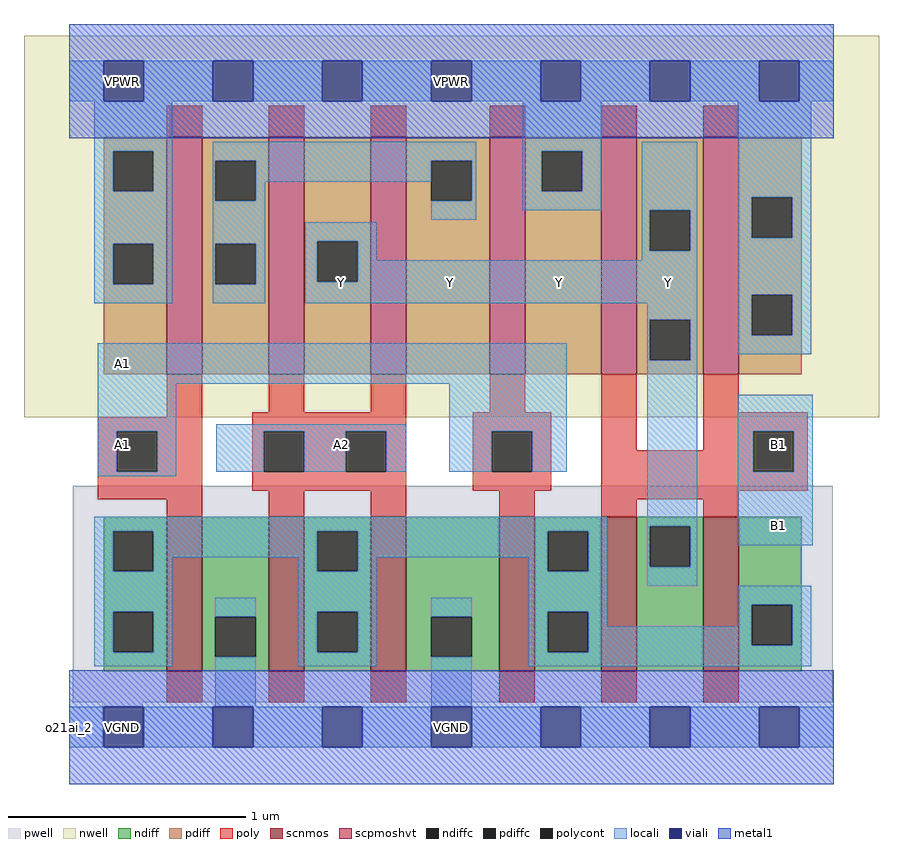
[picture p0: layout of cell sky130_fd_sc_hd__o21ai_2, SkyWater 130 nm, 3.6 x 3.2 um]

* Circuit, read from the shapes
.subckt sky130_fd_sc_hd__o21ai_2 A1 A2 B1 VGND VNB VPB VPWR Y
XM1 VGND A1 n1 VNB sky130_fd_pr__nfet_01v8 w=0.65 l=0.15 m=2
XM2 n1 A2 VGND VNB sky130_fd_pr__nfet_01v8 w=0.65 l=0.15 m=2
XM3 Y B1 n1 VNB sky130_fd_pr__nfet_01v8 w=0.65 l=0.15 m=2
XM4 n2 A1 VPWR VPB sky130_fd_pr__pfet_01v8_hvt w=1 l=0.15 m=2
XM5 Y A2 n2 VPB sky130_fd_pr__pfet_01v8_hvt w=1 l=0.15 m=2
XM6 Y B1 VPWR VPB sky130_fd_pr__pfet_01v8_hvt w=1 l=0.15 m=2
.ends

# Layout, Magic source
magic
tech sky130A
magscale 1 2
<< nwell >>
rect -38 261 682 582
<< pwell >>
rect 3 21 643 203
rect 28 -17 62 21
<< scnmos >>
rect 82 47 112 177
rect 168 47 198 177
rect 254 47 284 177
rect 362 47 392 177
rect 448 47 478 177
rect 534 47 564 177
<< scpmoshvt >>
rect 82 297 112 497
rect 168 297 198 497
rect 254 297 284 497
rect 354 297 384 497
rect 448 297 478 497
rect 534 297 564 497
<< ndiff >>
rect 29 165 82 177
rect 29 131 37 165
rect 71 131 82 165
rect 29 97 82 131
rect 29 63 37 97
rect 71 63 82 97
rect 29 47 82 63
rect 112 93 168 177
rect 112 59 123 93
rect 157 59 168 93
rect 112 47 168 59
rect 198 165 254 177
rect 198 131 209 165
rect 243 131 254 165
rect 198 97 254 131
rect 198 63 209 97
rect 243 63 254 97
rect 198 47 254 63
rect 284 93 362 177
rect 284 59 305 93
rect 339 59 362 93
rect 284 47 362 59
rect 392 165 448 177
rect 392 131 403 165
rect 437 131 448 165
rect 392 97 448 131
rect 392 63 403 97
rect 437 63 448 97
rect 392 47 448 63
rect 478 169 534 177
rect 478 135 489 169
rect 523 135 534 169
rect 478 47 534 135
rect 564 103 617 177
rect 564 69 575 103
rect 609 69 617 103
rect 564 47 617 69
<< pdiff >>
rect 29 485 82 497
rect 29 451 37 485
rect 71 451 82 485
rect 29 407 82 451
rect 29 373 37 407
rect 71 373 82 407
rect 29 297 82 373
rect 112 477 168 497
rect 112 443 123 477
rect 157 443 168 477
rect 112 407 168 443
rect 112 373 123 407
rect 157 373 168 407
rect 112 297 168 373
rect 198 409 254 497
rect 198 375 209 409
rect 243 375 254 409
rect 198 297 254 375
rect 284 477 354 497
rect 284 443 305 477
rect 339 443 354 477
rect 284 297 354 443
rect 384 485 448 497
rect 384 451 398 485
rect 432 451 448 485
rect 384 297 448 451
rect 478 435 534 497
rect 478 401 489 435
rect 523 401 534 435
rect 478 343 534 401
rect 478 309 489 343
rect 523 309 534 343
rect 478 297 534 309
rect 564 446 617 497
rect 564 412 575 446
rect 609 412 617 446
rect 564 364 617 412
rect 564 330 575 364
rect 609 330 617 364
rect 564 297 617 330
<< ndiffc >>
rect 37 131 71 165
rect 37 63 71 97
rect 123 59 157 93
rect 209 131 243 165
rect 209 63 243 97
rect 305 59 339 93
rect 403 131 437 165
rect 403 63 437 97
rect 489 135 523 169
rect 575 69 609 103
<< pdiffc >>
rect 37 451 71 485
rect 37 373 71 407
rect 123 443 157 477
rect 123 373 157 407
rect 209 375 243 409
rect 305 443 339 477
rect 398 451 432 485
rect 489 401 523 435
rect 489 309 523 343
rect 575 412 609 446
rect 575 330 609 364
<< poly >>
rect 82 497 112 523
rect 168 497 198 523
rect 254 497 284 523
rect 354 497 384 523
rect 448 497 478 523
rect 534 497 564 523
rect 82 261 112 297
rect 168 265 198 297
rect 254 265 284 297
rect 354 265 384 297
rect 24 249 112 261
rect 24 215 40 249
rect 74 215 112 249
rect 24 192 112 215
rect 154 249 284 265
rect 154 215 164 249
rect 198 215 233 249
rect 267 215 284 249
rect 154 199 284 215
rect 340 249 406 265
rect 340 215 356 249
rect 390 215 406 249
rect 340 199 406 215
rect 448 233 478 297
rect 534 265 564 297
rect 534 249 622 265
rect 534 233 576 249
rect 448 215 576 233
rect 610 215 622 249
rect 448 199 622 215
rect 82 177 112 192
rect 168 177 198 199
rect 254 177 284 199
rect 362 177 392 199
rect 448 192 564 199
rect 448 177 478 192
rect 534 177 564 192
rect 82 21 112 47
rect 168 21 198 47
rect 254 21 284 47
rect 362 21 392 47
rect 448 21 478 47
rect 534 21 564 47
<< polycont >>
rect 40 215 74 249
rect 164 215 198 249
rect 233 215 267 249
rect 356 215 390 249
rect 576 215 610 249
<< locali >>
rect 0 527 29 561
rect 63 527 121 561
rect 155 527 213 561
rect 247 527 305 561
rect 339 527 397 561
rect 431 527 489 561
rect 523 527 581 561
rect 615 527 644 561
rect 21 485 87 527
rect 21 451 37 485
rect 71 451 87 485
rect 21 407 87 451
rect 21 373 37 407
rect 71 373 87 407
rect 21 357 87 373
rect 121 477 343 493
rect 121 443 123 477
rect 157 459 305 477
rect 157 443 165 459
rect 121 407 165 443
rect 339 443 343 477
rect 305 427 343 443
rect 382 485 448 527
rect 382 451 398 485
rect 432 451 448 485
rect 382 435 448 451
rect 482 435 529 493
rect 121 373 123 407
rect 157 373 165 407
rect 121 357 165 373
rect 199 409 259 425
rect 199 375 209 409
rect 243 393 259 409
rect 482 401 489 435
rect 523 401 529 435
rect 482 393 529 401
rect 243 375 529 393
rect 199 357 529 375
rect 487 343 529 357
rect 24 289 419 323
rect 24 249 90 289
rect 24 215 40 249
rect 74 215 90 249
rect 124 249 284 255
rect 124 215 164 249
rect 198 215 233 249
rect 267 215 284 249
rect 320 249 419 289
rect 320 215 356 249
rect 390 215 419 249
rect 487 309 489 343
rect 523 309 529 343
rect 563 446 625 527
rect 563 412 575 446
rect 609 412 625 446
rect 563 364 625 412
rect 563 330 575 364
rect 609 330 625 364
rect 563 314 625 330
rect 24 211 90 215
rect 21 165 453 177
rect 21 131 37 165
rect 71 143 209 165
rect 71 131 87 143
rect 21 97 87 131
rect 193 131 209 143
rect 243 143 403 165
rect 243 131 259 143
rect 21 63 37 97
rect 71 63 87 97
rect 21 51 87 63
rect 123 93 157 109
rect 123 17 157 59
rect 193 97 259 131
rect 387 131 403 143
rect 437 131 453 165
rect 193 63 209 97
rect 243 63 259 97
rect 193 51 259 63
rect 305 93 339 109
rect 305 17 339 59
rect 387 97 453 131
rect 487 169 529 309
rect 487 135 489 169
rect 523 135 529 169
rect 563 249 626 280
rect 563 215 576 249
rect 610 215 626 249
rect 563 153 626 215
rect 487 119 529 135
rect 387 63 403 97
rect 437 85 453 97
rect 563 103 625 119
rect 563 85 575 103
rect 437 69 575 85
rect 609 69 625 103
rect 437 63 625 69
rect 387 51 625 63
rect 0 -17 29 17
rect 63 -17 121 17
rect 155 -17 213 17
rect 247 -17 305 17
rect 339 -17 397 17
rect 431 -17 489 17
rect 523 -17 581 17
rect 615 -17 644 17
<< viali >>
rect 29 527 63 561
rect 121 527 155 561
rect 213 527 247 561
rect 305 527 339 561
rect 397 527 431 561
rect 489 527 523 561
rect 581 527 615 561
rect 29 -17 63 17
rect 121 -17 155 17
rect 213 -17 247 17
rect 305 -17 339 17
rect 397 -17 431 17
rect 489 -17 523 17
rect 581 -17 615 17
<< metal1 >>
rect 0 561 644 592
rect 0 527 29 561
rect 63 527 121 561
rect 155 527 213 561
rect 247 527 305 561
rect 339 527 397 561
rect 431 527 489 561
rect 523 527 581 561
rect 615 527 644 561
rect 0 496 644 527
rect 0 17 644 48
rect 0 -17 29 17
rect 63 -17 121 17
rect 155 -17 213 17
rect 247 -17 305 17
rect 339 -17 397 17
rect 431 -17 489 17
rect 523 -17 581 17
rect 615 -17 644 17
rect 0 -48 644 -17
<< labels >>
flabel locali s 580 153 614 187 0 FreeSans 200 0 0 0 B1
port 3 nsew signal input
flabel locali s 488 357 522 391 0 FreeSans 200 0 0 0 Y
port 8 nsew signal output
flabel locali s 396 357 430 391 0 FreeSans 200 0 0 0 Y
port 8 nsew signal output
flabel locali s 304 357 338 391 0 FreeSans 200 0 0 0 Y
port 8 nsew signal output
flabel locali s 212 221 246 255 0 FreeSans 200 0 0 0 A2
port 2 nsew signal input
flabel locali s 212 357 246 391 0 FreeSans 200 0 0 0 Y
port 8 nsew signal output
flabel locali s 28 289 62 323 0 FreeSans 200 0 0 0 A1
port 1 nsew signal input
flabel locali s 28 221 62 255 0 FreeSans 200 0 0 0 A1
port 1 nsew signal input
flabel locali s 580 221 614 255 0 FreeSans 200 0 0 0 B1
port 3 nsew signal input
flabel metal1 s 28 -17 62 17 0 FreeSans 200 0 0 0 VGND
port 4 nsew ground bidirectional abutment
flabel metal1 s 28 527 62 561 0 FreeSans 200 0 0 0 VPWR
port 7 nsew power bidirectional abutment
flabel nwell s 28 527 62 561 0 FreeSans 200 0 0 0 VPB
port 6 nsew power bidirectional
flabel pwell s 28 -17 62 17 0 FreeSans 200 0 0 0 VNB
port 5 nsew ground bidirectional
rlabel comment s 0 0 0 0 4 o21ai_2
rlabel metal1 s 0 -48 644 48 1 VGND
port 4 nsew ground bidirectional abutment
rlabel metal1 s 0 496 644 592 1 VPWR
port 7 nsew power bidirectional abutment
<< properties >>
string FIXED_BBOX 0 0 644 544
string GDS_END 1277734
string GDS_FILE $PDKPATH/libs.ref/sky130_fd_sc_hd/gds/sky130_fd_sc_hd.gds
string GDS_START 1271290
string LEFclass CORE
string LEFsite unithd
string LEFsymmetry X Y R90
string path 0.000 0.000 3.220 0.000 
<< end >>
